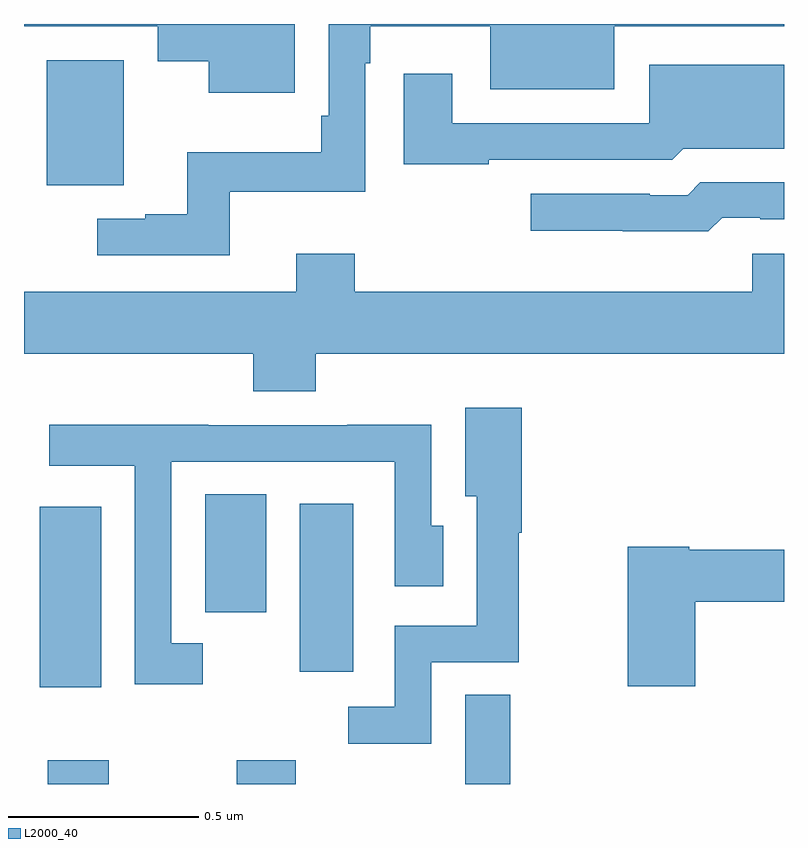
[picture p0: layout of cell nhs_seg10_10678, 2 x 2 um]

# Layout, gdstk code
import gdstk
lib = gdstk.Library(unit=1e-6, precision=1e-09)
def R(c, l, rs):  # rectangles x0, y0, x1, y1
    for r in rs: c.add(gdstk.rectangle(r[:2], r[2:], *l))
def P(c, l, *ps):  # polygons
    for p in ps: c.add(gdstk.Polygon(p, *l))
L2000_40 = (2000, 40)

nhs_seg10_10678 = lib.new_cell('nhs_seg10_10678')
R(nhs_seg10_10678, L2000_40, [(245.063,1316.5,245.223,1316.563), (245.56,1316.5,245.715,1316.563), (246.161,1316.5,246.28,1316.735), (245.042,1316.754,245.203,1317.229), (245.726,1316.796,245.866,1317.238), (245.477,1316.952,245.638,1317.263), (245.06,1318.076,245.263,1318.405)])
P(nhs_seg10_10678, L2000_40, [(245.542,1318.058),(245.898,1318.058),(245.898,1318.397),(245.911,1318.397),(245.911,1318.494),(246.227,1318.494),(246.227,1318.328),(246.553,1318.328),(246.553,1318.494),(247,1318.494),(247,1318.5),(245.802,1318.5),(245.802,1318.258),(245.782,1318.258),(245.782,1318.162),(245.429,1318.162),(245.429,1318),(245.319,1318),(245.319,1317.987),(245.193,1317.987),(245.193,1317.891),(245.542,1317.891)],
  [(245.713,1318.5),(245,1318.5),(245,1318.494),(245.352,1318.494),(245.352,1318.402),(245.486,1318.402),(245.486,1318.319),(245.713,1318.319)],
  [(246.223,1318.143),(246.706,1318.143),(246.735,1318.172),(247,1318.172),(247,1318.393),(246.645,1318.393),(246.645,1318.239),(246.127,1318.239),(246.127,1318.369),(245.999,1318.369),(245.999,1318.131),(246.223,1318.131)],
  [(246.837,1317.99),(246.937,1317.99),(246.937,1317.986),(247,1317.986),(247,1318.083),(246.78,1318.083),(246.747,1318.05),(246.647,1318.05),(246.647,1318.053),(246.333,1318.053),(246.333,1317.956),(246.576,1317.956),(246.576,1317.954),(246.801,1317.954)],
  [(245.768,1317.632),(247,1317.632),(247,1317.895),(246.917,1317.895),(246.917,1317.796),(245.87,1317.796),(245.87,1317.895),(245.717,1317.895),(245.717,1317.796),(245,1317.796),(245,1317.632),(245.603,1317.632),(245.603,1317.533),(245.768,1317.533)],
  [(246.072,1316.82),(246.302,1316.82),(246.302,1317.161),(246.31,1317.161),(246.31,1317.49),(246.161,1317.49),(246.161,1317.257),(246.191,1317.257),(246.191,1316.916),(245.976,1316.916),(245.976,1316.703),(245.853,1316.703),(245.853,1316.606),(246.072,1316.606)],
  [(245.47,1316.871),(245.388,1316.871),(245.388,1317.348),(245.976,1317.348),(245.976,1317.021),(246.103,1317.021),(246.103,1317.18),(246.072,1317.18),(246.072,1317.446),(245.851,1317.446),(245.851,1317.444),(245.485,1317.444),(245.485,1317.446),(245.067,1317.446),(245.067,1317.338),(245.292,1317.338),(245.292,1316.763),(245.47,1316.763)],
  [(246.767,1316.98),(247,1316.98),(247,1317.116),(246.75,1317.116),(246.75,1317.124),(246.589,1317.124),(246.589,1316.757),(246.767,1316.757)])

lib.write_gds('nhs_seg10_10678.gds')
